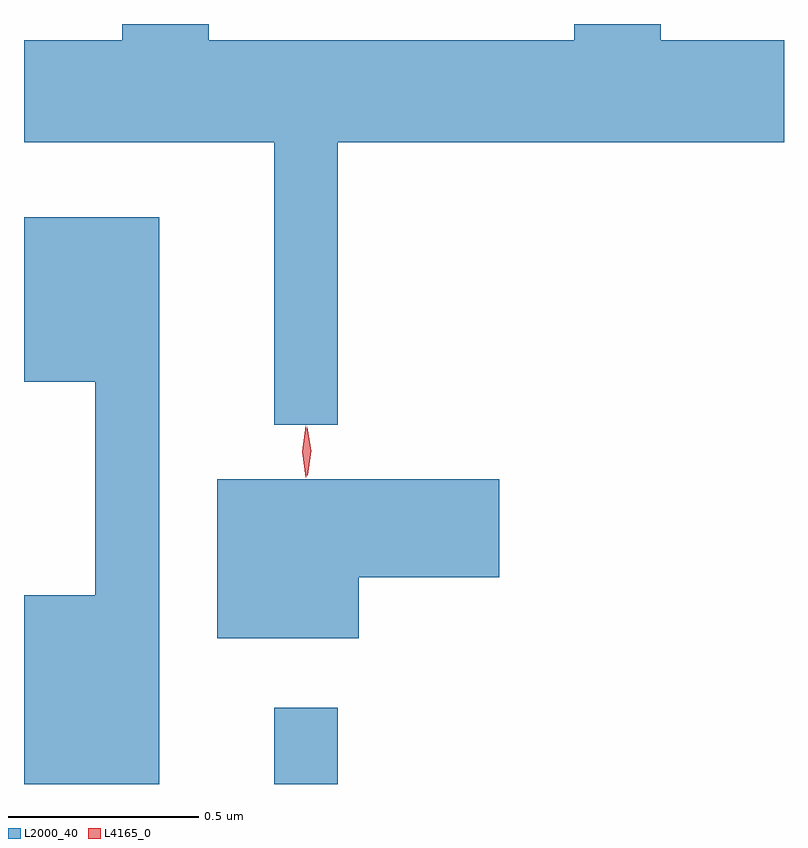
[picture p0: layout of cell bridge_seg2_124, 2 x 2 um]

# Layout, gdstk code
import gdstk
lib = gdstk.Library(unit=1e-6, precision=1e-09)
def R(c, l, rs):  # rectangles x0, y0, x1, y1
    for r in rs: c.add(gdstk.rectangle(r[:2], r[2:], *l))
def P(c, l, *ps):  # polygons
    for p in ps: c.add(gdstk.Polygon(p, *l))
L2000_40 = (2000, 40)
L4165_0 = (4165, 0)

bridge_seg2_124 = lib.new_cell('bridge_seg2_124')
R(bridge_seg2_124, L2000_40, [(985.611,1051.067,985.779,1051.268)])
P(bridge_seg2_124, L2000_40, [(985.779,1052.756),(986.953,1052.756),(986.953,1053.024),(986.629,1053.024),(986.629,1053.067),(986.401,1053.067),(986.401,1053.024),(985.439,1053.024),(985.439,1053.067),(985.211,1053.067),(985.211,1053.024),(984.953,1053.024),(984.953,1052.756),(985.611,1052.756),(985.611,1052.013),(985.779,1052.013)],
  [(985.309,1052.559),(984.953,1052.559),(984.953,1052.126),(985.141,1052.126),(985.141,1051.564),(984.953,1051.564),(984.953,1051.067),(985.309,1051.067)],
  [(985.834,1051.611),(986.204,1051.611),(986.204,1051.869),(985.461,1051.869),(985.461,1051.451),(985.834,1051.451)])
P(bridge_seg2_124, L4165_0, [(985.695,1051.874),(985.685,1051.942),(985.694,1052.01),(985.695,1052.01),(985.695,1052.01),(985.705,1051.942),(985.696,1051.874),(985.696,1051.874)],
  [(985.698,1051.88),(985.689,1051.944),(985.698,1052.006),(985.698,1052.007),(985.699,1052.006),(985.709,1051.944),(985.7,1051.88),(985.699,1051.88)])

lib.write_gds('bridge_seg2_124.gds')
